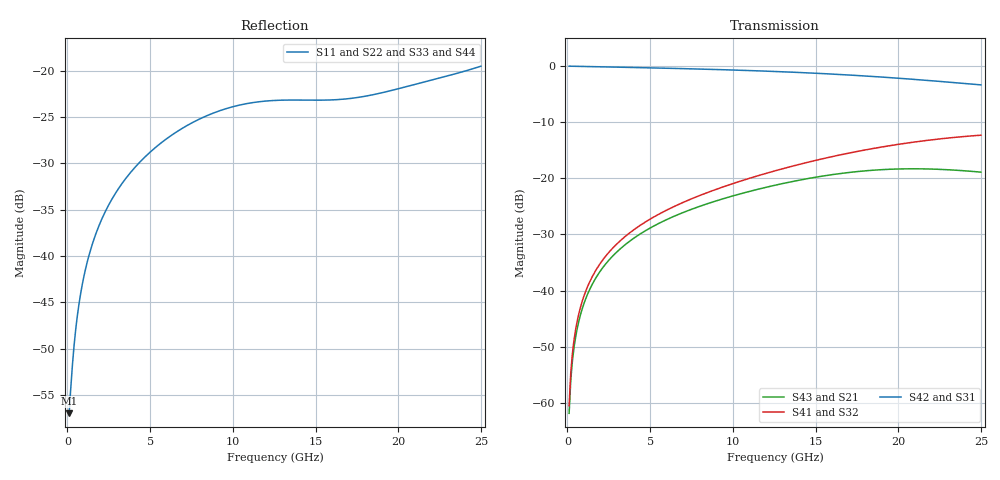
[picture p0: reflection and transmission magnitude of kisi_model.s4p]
! kisi E_s8_L1L8_p1000_round_g2: fast channel model (formula impedances, via model), up to 25 GHz
# Hz S RI R 50
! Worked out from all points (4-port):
!   250 points, 100 MHz to 25 GHz, reference 50 ohm
!   strongest paths, dB at 100 MHz, 6.3 GHz, 12.6 GHz, 18.8 GHz, 25 GHz:
!     S42: 0.0, -0.4, -1.0, -1.9, -3.3
!     S31: 0.0, -0.4, -1.0, -1.9, -3.3
!     S41: -60.5, -25.2, -18.6, -14.5, -12.3
!     S32: -60.5, -25.2, -18.6, -14.5, -12.3
!     S43: -61.9, -26.9, -21.2, -18.5, -18.9
!     S21: -61.9, -26.9, -21.2, -18.5, -18.9
!   lowest |S11| = -57.0 dB at 100 MHz (marker M1), VSWR 1.00, Z = 50.1 - j0.0724 ohm
!   |S11| at or under -10 dB: start of sweep to end of sweep
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1e8  0.00121 -0.000722  5.05e-05 0.000806  0.9973 -0.0389  -6.06e-05 -0.000941
     5.05e-05 0.000806  0.00121 -0.000722  -6.06e-05 -0.000941  0.9973 -0.0389
     0.9973 -0.0389  -6.06e-05 -0.000941  0.00121 -0.000722  5.05e-05 0.000806
     -6.06e-05 -0.000941  0.9973 -0.0389  5.05e-05 0.000806  0.00121 -0.000722
4e9  -0.0294 -0.00269  0.0292 0.00039  0.0774 -0.9684  -0.0347 -0.000386
     0.0292 0.00039  -0.0294 -0.00269  -0.0347 -0.000386  0.0774 -0.9684
     0.0774 -0.9684  -0.0347 -0.000386  -0.0294 -0.00269  0.0292 0.00039
     -0.0347 -0.000386  0.0774 -0.9684  0.0292 0.00039  -0.0294 -0.00269
7.9e9  -0.0184 0.0512  0.00581 -0.0554  -0.9204 -0.1985  -0.00682 0.0691
       0.00581 -0.0554  -0.0184 0.0512  -0.00682 0.0691  -0.9204 -0.1985
       -0.9204 -0.1985  -0.00682 0.0691  -0.0184 0.0512  0.00581 -0.0554
       -0.00682 0.0691  -0.9204 -0.1985  0.00581 -0.0554  -0.0184 0.0512
1.24e10  0.0577 0.038  -0.0856 0.00617  -0.1087 0.8903  0.1147 -0.00949
         -0.0856 0.00617  0.0577 0.038  0.1147 -0.00949  -0.1087 0.8903
         -0.1087 0.8903  0.1147 -0.00949  0.0577 0.038  -0.0856 0.00617
         0.1147 -0.00949  -0.1087 0.8903  -0.0856 0.00617  0.0577 0.038
1.67e10  0.0636 -0.03  0.0271 0.108  0.8337 0.0824  -0.0415 -0.1589
         0.0271 0.108  0.0636 -0.03  -0.0415 -0.1589  0.8337 0.0824
         0.8337 0.0824  -0.0415 -0.1589  0.0636 -0.03  0.0271 0.108
         -0.0415 -0.1589  0.8337 0.0824  0.0271 0.108  0.0636 -0.03
2.08e10  0.0151 -0.0821  0.1124 -0.0466  0.1147 -0.7557  -0.1915 0.0833
         0.1124 -0.0466  0.0151 -0.0821  -0.1915 0.0833  0.1147 -0.7557
         0.1147 -0.7557  -0.1915 0.0833  0.0151 -0.0821  0.1124 -0.0466
         -0.1915 0.0833  0.1147 -0.7557  0.1124 -0.0466  0.0151 -0.0821
2.5e10  -0.0834 -0.0654  -0.0612 -0.0957  -0.6692 -0.1213  0.147 0.1926
        -0.0612 -0.0957  -0.0834 -0.0654  0.147 0.1926  -0.6692 -0.1213
        -0.6692 -0.1213  0.147 0.1926  -0.0834 -0.0654  -0.0612 -0.0957
        0.147 0.1926  -0.6692 -0.1213  -0.0612 -0.0957  -0.0834 -0.0654
